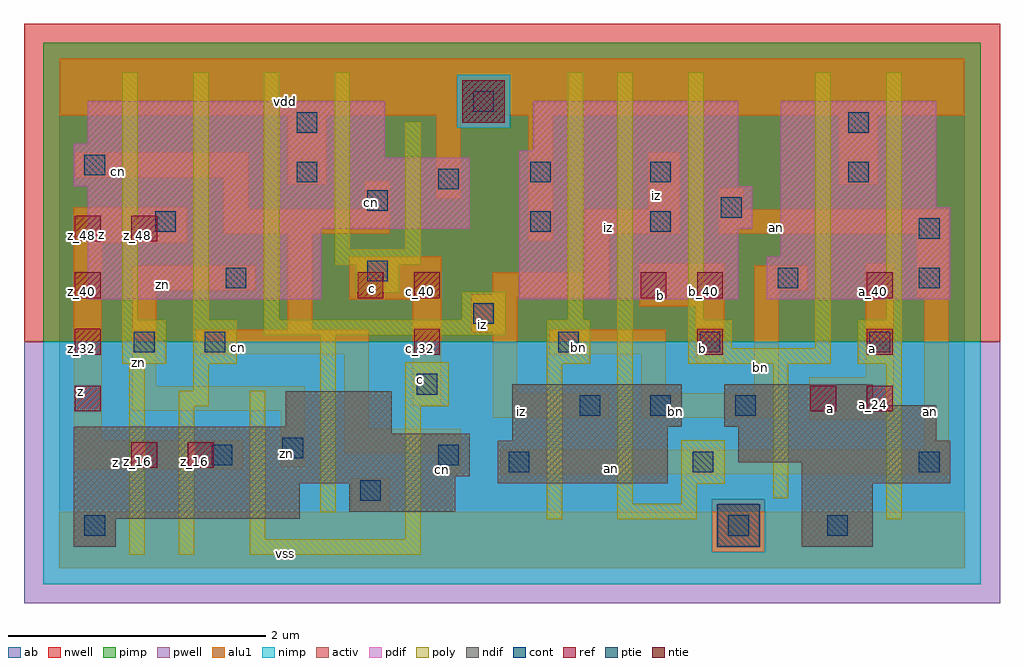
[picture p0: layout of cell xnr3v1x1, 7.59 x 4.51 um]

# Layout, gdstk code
import gdstk
lib = gdstk.Library(unit=1e-6, precision=2.5e-09)
def R(c, l, rs):  # rectangles x0, y0, x1, y1
    for r in rs: c.add(gdstk.rectangle(r[:2], r[2:], *l))
def A(c, l, x, y, w, h, nx, ny, dx, dy):  # array of equal rectangles
    R(c, l, [(x+i*dx, y+j*dy, x+i*dx+w, y+j*dy+h) for i in range(nx) for j in range(ny)])
ndif = (3, 0)
pdif = (4, 0)
ntie = (5, 0)
ptie = (6, 0)
ref = (24, 0)
cont = (25, 0)
pwell = (41, 0)
nwell = (42, 0)
activ = (43, 0)
pimp = (44, 0)
nimp = (45, 0)
poly = (46, 0)
alu1 = (49, 0)
ab = (63, 0)

xnr3v1x1 = lib.new_cell('xnr3v1x1')
R(xnr3v1x1, ndif, [(0.11,0.165,0.44,0.385), (5.775,0.165,6.325,0.66), (0.11,0.385,1.87,0.66), (2.255,0.44,3.08,0.66), (0.11,0.66,3.08,0.715), (3.41,0.66,4.73,0.99), (5.775,0.66,6.93,0.825), (0.11,0.715,3.19,1.045), (5.28,0.825,6.93,0.99), (3.52,0.99,4.73,1.1), (5.28,0.99,6.82,1.1), (0.11,1.045,2.585,1.1), (1.76,1.1,2.585,1.375), (3.52,1.1,4.84,1.43), (5.17,1.1,6.82,1.265), (5.17,1.265,6.325,1.43)])
R(xnr3v1x1, pdif, [(0.22,2.09,2.035,2.64), (3.575,2.09,5.28,2.64), (5.5,2.09,6.93,2.42), (5.61,2.42,6.93,2.805), (0.22,2.64,3.19,2.97), (3.575,2.64,5.39,2.97), (5.61,2.805,6.82,3.63), (0.11,2.97,3.19,3.19), (3.575,2.97,5.28,3.245), (0.11,3.19,2.53,3.3), (3.685,3.245,5.28,3.63), (0.22,3.3,2.53,3.63)])
R(xnr3v1x1, ntie, [(3.135,3.465,3.465,3.795)])
R(xnr3v1x1, ptie, [(5.115,0.165,5.445,0.495)])
A(xnr3v1x1, ref, 0.12, 1.22, 0.2, 0.2, 1, 4, 0, 0.44)
A(xnr3v1x1, ref, 6.28, 1.22, 0.2, 0.2, 1, 3, 0, 0.44)
R(xnr3v1x1, ref, [(0.56,0.78,0.76,0.98), (1,0.78,1.2,0.98), (5.84,1.22,6.04,1.42), (2.76,1.66,2.96,1.86), (4.96,1.66,5.16,1.86), (2.32,2.1,2.52,2.3), (2.76,2.1,2.96,2.3), (4.52,2.1,4.72,2.3), (4.96,2.1,5.16,2.3), (0.56,2.54,0.76,2.74)])
R(xnr3v1x1, cont, [(0.195,0.25,0.355,0.41), (5.2,0.25,5.36,0.41), (5.97,0.25,6.13,0.41), (2.34,0.525,2.5,0.685), (3.495,0.745,3.655,0.905), (4.925,0.745,5.085,0.905), (6.685,0.745,6.845,0.905), (1.185,0.8,1.345,0.96), (2.945,0.8,3.105,0.96), (1.735,0.855,1.895,1.015), (4.045,1.185,4.205,1.345), (4.595,1.185,4.755,1.345), (5.255,1.185,5.415,1.345), (2.78,1.35,2.94,1.51), (0.58,1.68,0.74,1.84), (1.13,1.68,1.29,1.84), (3.88,1.68,4.04,1.84), (4.98,1.68,5.14,1.84), (6.3,1.68,6.46,1.84), (3.22,1.9,3.38,2.06), (1.295,2.175,1.455,2.335), (5.585,2.175,5.745,2.335), (6.685,2.175,6.845,2.335), (2.395,2.23,2.555,2.39), (6.685,2.56,6.845,2.72), (0.745,2.615,0.905,2.775), (3.66,2.615,3.82,2.775), (4.595,2.615,4.755,2.775), (5.145,2.725,5.305,2.885), (2.395,2.78,2.555,2.94), (2.945,2.945,3.105,3.105), (1.845,3,2.005,3.16), (3.66,3,3.82,3.16), (4.595,3,4.755,3.16), (6.135,3,6.295,3.16), (0.195,3.055,0.355,3.215), (1.845,3.385,2.005,3.545), (6.135,3.385,6.295,3.545), (3.22,3.55,3.38,3.71)])
R(xnr3v1x1, pwell, [(-0.275,-0.275,7.315,1.76)])
R(xnr3v1x1, nwell, [(-0.275,1.76,7.315,4.235)])
R(xnr3v1x1, activ, [(0.11,0.165,0.44,0.385), (5.115,0.165,5.445,0.495), (5.775,0.165,6.325,0.66), (0.11,0.385,1.87,0.66), (2.255,0.44,3.08,0.66), (0.11,0.66,3.08,0.715), (3.41,0.66,4.73,0.99), (5.775,0.66,6.93,0.825), (0.11,0.715,3.19,1.045), (5.28,0.825,6.93,0.99), (3.52,0.99,4.73,1.1), (5.28,0.99,6.82,1.1), (0.11,1.045,2.585,1.1), (1.76,1.1,2.585,1.375), (3.52,1.1,4.84,1.43), (5.17,1.1,6.82,1.265), (5.17,1.265,6.325,1.43), (0.22,2.09,2.035,2.64), (3.575,2.09,5.28,2.64), (5.5,2.09,6.93,2.42), (5.61,2.42,6.93,2.805), (0.22,2.64,3.19,2.97), (3.575,2.64,5.39,2.97), (5.61,2.805,6.82,3.63), (0.11,2.97,3.19,3.19), (3.575,2.97,5.28,3.245), (0.11,3.19,2.53,3.3), (3.685,3.245,5.28,3.63), (0.22,3.3,2.53,3.63), (3.135,3.465,3.465,3.795)])
R(xnr3v1x1, pimp, [(5.075,0.125,5.485,0.535), (-0.125,1.76,7.165,3.425), (-0.125,3.425,3.095,3.835), (3.505,3.425,7.165,3.835), (-0.125,3.835,7.165,4.085)])
R(xnr3v1x1, nimp, [(-0.125,-0.125,7.165,0.125), (-0.125,0.125,5.075,0.535), (5.485,0.125,7.165,0.535), (-0.125,0.535,7.165,1.76), (3.095,3.425,3.505,3.835)])
A(xnr3v1x1, poly, 0.49, 1.93, 0.12, 1.925, 3, 1, 0.55, 0)
R(xnr3v1x1, poly, [(0.545,0.105,0.665,1.59), (0.93,0.105,1.05,1.26), (1.48,0.105,2.81,0.225), (1.48,0.225,1.6,1.38), (2.69,0.225,2.81,1.26), (3.79,0.38,3.91,1.59), (4.34,0.38,4.955,0.5), (6.43,0.38,6.55,1.59), (2.03,0.435,2.15,1.81), (4.34,0.5,4.46,3.855), (4.835,0.5,4.955,0.655), (5.55,0.545,5.67,1.59), (4.835,0.655,5.175,0.995), (0.93,1.26,1.16,1.38), (2.69,1.26,3.03,1.6), (1.04,1.38,1.16,1.59), (0.49,1.59,0.83,1.93), (1.04,1.59,1.38,1.93), (3.79,1.59,4.13,1.93), (4.89,1.59,6,1.71), (6.21,1.59,6.55,1.93), (4.89,1.71,5.23,1.93), (5.88,1.71,6,3.855), (1.59,1.81,3.47,1.93), (3.13,1.93,3.47,2.15), (3.955,1.93,4.075,3.855), (4.89,1.93,5.01,3.855), (6.43,1.93,6.55,3.855), (2.305,2.14,2.645,2.36), (2.14,2.36,2.81,2.48), (2.14,2.48,2.26,3.855), (2.69,2.48,2.81,3.47)])
R(xnr3v1x1, alu1, [(0,0,7.04,0.44), (2.27,0.44,2.57,0.7), (2.93,0.73,3.12,0.895), (3.425,0.73,6.915,0.92), (0.11,0.77,1.43,0.99), (1.72,0.785,1.91,1.225), (2.215,0.895,3.12,1.085), (6.725,0.92,6.915,2.105), (0.11,0.99,0.33,2.53), (2.215,1.085,2.405,1.665), (5.83,1.155,6.49,1.485), (3.37,1.17,4.275,1.36), (4.525,1.17,5.595,1.36), (0.565,1.225,1.91,1.415), (2.75,1.265,2.97,2.09), (3.37,1.36,3.56,1.83), (4.525,1.36,4.715,1.665), (5.405,1.36,5.595,2.16), (0.565,1.415,0.755,2.16), (6.27,1.485,6.49,2.365), (4.95,1.595,5.17,2.035), (1.06,1.665,2.405,1.855), (3.81,1.665,4.715,1.855), (3.205,1.83,3.56,2.105), (1.775,1.855,1.965,2.6), (4.51,2.035,5.17,2.365), (2.255,2.09,2.97,2.42), (3.205,2.105,4.275,2.13), (6.67,2.105,6.915,2.6), (3.37,2.13,4.275,2.295), (0.565,2.16,1.525,2.35), (5.405,2.16,5.815,2.35), (4.085,2.295,4.275,2.6), (0.11,2.53,0.99,2.805), (3.645,2.545,3.835,3.52), (1.28,2.6,2.57,2.79), (4.085,2.6,4.825,2.79), (5.13,2.6,6.915,2.79), (1.28,2.79,1.47,3.04), (2.38,2.79,2.57,3.01), (4.58,2.79,4.825,3.23), (5.13,2.79,5.32,2.955), (2.93,2.875,3.12,3.52), (1.775,2.985,2.075,3.52), (6.065,2.985,6.365,3.52), (0.125,3.04,1.47,3.23), (0,3.52,7.04,3.96)])
R(xnr3v1x1, ab, [(0,0,7.04,3.96)])
xnr3v1x1.add(gdstk.Label('vss', (1.76,0.11), layer=49, texttype=0))
xnr3v1x1.add(gdstk.Label('an', (4.2975,0.7775), layer=49, texttype=0))
xnr3v1x1.add(gdstk.Label('cn', (2.9775,0.77), layer=49, texttype=0))
xnr3v1x1.add(gdstk.Label('an', (6.7725,1.215), layer=49, texttype=0))
xnr3v1x1.add(gdstk.Label('a', (5.995,1.2375), layer=49, texttype=0))
xnr3v1x1.add(gdstk.Label('bn', (4.7925,1.2175), layer=49, texttype=0))
xnr3v1x1.add(gdstk.Label('iz', (3.595,1.2175), layer=49, texttype=0))
xnr3v1x1.add(gdstk.Label('a', (6.325,1.705), layer=49, texttype=0))
xnr3v1x1.add(gdstk.Label('bn', (5.4525,1.56), layer=49, texttype=0))
xnr3v1x1.add(gdstk.Label('b', (5.005,1.705), layer=49, texttype=0))
xnr3v1x1.add(gdstk.Label('bn', (4.035,1.7125), layer=49, texttype=0))
xnr3v1x1.add(gdstk.Label('b', (4.675,2.1175), layer=49, texttype=0))
xnr3v1x1.add(gdstk.Label('iz', (3.2925,1.8975), layer=49, texttype=0))
xnr3v1x1.add(gdstk.Label('c', (2.805,1.47), layer=49, texttype=0))
xnr3v1x1.add(gdstk.Label('zn', (1.7675,0.895), layer=49, texttype=0))
xnr3v1x1.add(gdstk.Label('z', (0.44,0.825), layer=49, texttype=0))
xnr3v1x1.add(gdstk.Label('cn', (1.395,1.7125), layer=49, texttype=0))
xnr3v1x1.add(gdstk.Label('c', (2.4325,2.1725), layer=49, texttype=0))
xnr3v1x1.add(gdstk.Label('an', (5.575,2.6475), layer=49, texttype=0))
xnr3v1x1.add(gdstk.Label('iz', (4.27,2.6475), layer=49, texttype=0))
xnr3v1x1.add(gdstk.Label('iz', (4.64,2.9), layer=49, texttype=0))
xnr3v1x1.add(gdstk.Label('zn', (0.6125,1.6), layer=49, texttype=0))
xnr3v1x1.add(gdstk.Label('zn', (0.805,2.2075), layer=49, texttype=0))
xnr3v1x1.add(gdstk.Label('z', (0.165,1.375), layer=49, texttype=0))
xnr3v1x1.add(gdstk.Label('cn', (2.4275,2.845), layer=49, texttype=0))
xnr3v1x1.add(gdstk.Label('z', (0.33,2.5975), layer=49, texttype=0))
xnr3v1x1.add(gdstk.Label('cn', (0.46,3.0875), layer=49, texttype=0))
xnr3v1x1.add(gdstk.Label('vdd', (1.76,3.63), layer=49, texttype=0))
xnr3v1x1.add(gdstk.Label('b_40', (5.01,2.15), layer=24, texttype=0))
xnr3v1x1.add(gdstk.Label('b_32', (5.01,1.71), layer=24, texttype=0))
xnr3v1x1.add(gdstk.Label('b_40', (4.57,2.15), layer=24, texttype=0))
xnr3v1x1.add(gdstk.Label('c_40', (2.81,2.15), layer=24, texttype=0))
xnr3v1x1.add(gdstk.Label('c_32', (2.81,1.71), layer=24, texttype=0))
xnr3v1x1.add(gdstk.Label('c_40', (2.37,2.15), layer=24, texttype=0))
xnr3v1x1.add(gdstk.Label('z_48', (0.17,2.59), layer=24, texttype=0))
xnr3v1x1.add(gdstk.Label('z_40', (0.17,2.15), layer=24, texttype=0))
xnr3v1x1.add(gdstk.Label('z_32', (0.17,1.71), layer=24, texttype=0))
xnr3v1x1.add(gdstk.Label('z_24', (0.17,1.27), layer=24, texttype=0))
xnr3v1x1.add(gdstk.Label('z_16', (1.05,0.83), layer=24, texttype=0))
xnr3v1x1.add(gdstk.Label('z_48', (0.61,2.59), layer=24, texttype=0))
xnr3v1x1.add(gdstk.Label('z_16', (0.61,0.83), layer=24, texttype=0))
xnr3v1x1.add(gdstk.Label('a_40', (6.33,2.15), layer=24, texttype=0))
xnr3v1x1.add(gdstk.Label('a_32', (6.33,1.71), layer=24, texttype=0))
xnr3v1x1.add(gdstk.Label('a_24', (6.33,1.27), layer=24, texttype=0))
xnr3v1x1.add(gdstk.Label('a_24', (5.89,1.27), layer=24, texttype=0))

lib.write_gds('xnr3v1x1.gds')
